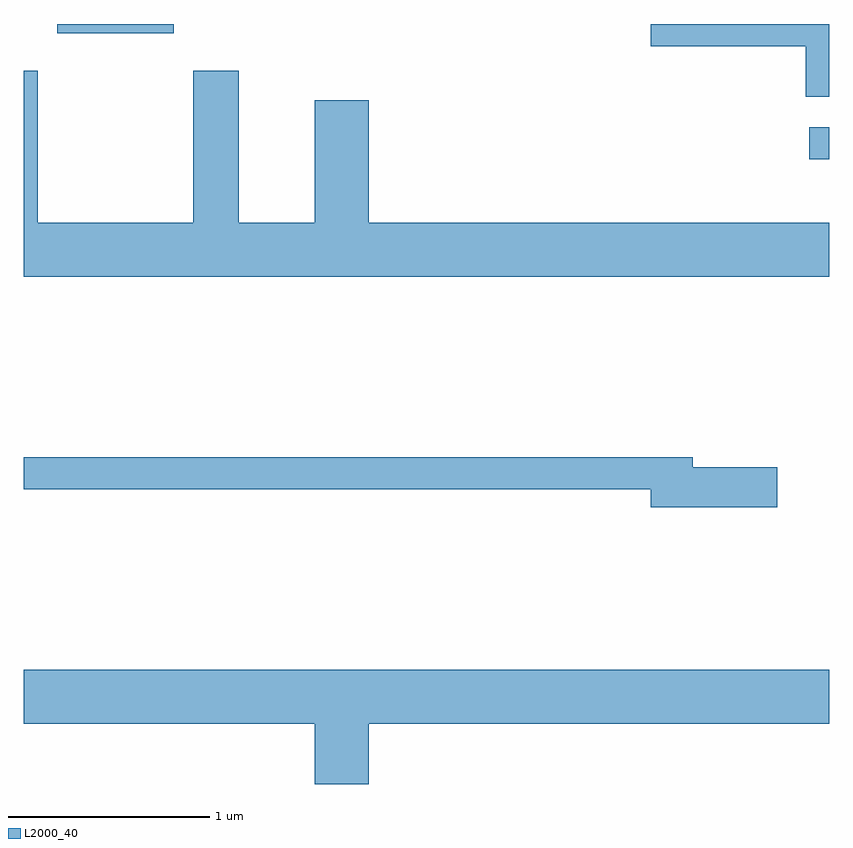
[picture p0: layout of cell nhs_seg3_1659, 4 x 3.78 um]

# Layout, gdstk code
import gdstk
lib = gdstk.Library(unit=1e-6, precision=1e-09)
def R(c, l, rs):  # rectangles x0, y0, x1, y1
    for r in rs: c.add(gdstk.rectangle(r[:2], r[2:], *l))
def P(c, l, *ps):  # polygons
    for p in ps: c.add(gdstk.Polygon(p, *l))
L2000_40 = (2000, 40)

nhs_seg3_1659 = lib.new_cell('nhs_seg3_1659')
R(nhs_seg3_1659, L2000_40, [(237.513,1173.221,237.611,1173.379), (233.776,1173.846,234.354,1173.892)])
P(nhs_seg3_1659, L2000_40, [(237.611,1173.892),(236.726,1173.892),(236.726,1173.781),(237.496,1173.781),(237.496,1173.531),(237.611,1173.531)],
  [(237.611,1172.904),(235.324,1172.904),(235.324,1173.514),(235.056,1173.514),(235.056,1172.904),(234.679,1172.904),(234.679,1173.659),(234.451,1173.659),(234.451,1172.904),(233.679,1172.904),(233.679,1173.659),(233.611,1173.659),(233.611,1172.636),(237.611,1172.636)],
  [(237.354,1171.689),(236.934,1171.689),(236.934,1171.739),(233.611,1171.739),(233.611,1171.581),(236.726,1171.581),(236.726,1171.491),(237.354,1171.491)],
  [(235.324,1170.416),(237.611,1170.416),(237.611,1170.684),(233.611,1170.684),(233.611,1170.416),(235.056,1170.416),(235.056,1170.116),(235.324,1170.116)])

lib.write_gds('nhs_seg3_1659.gds')
